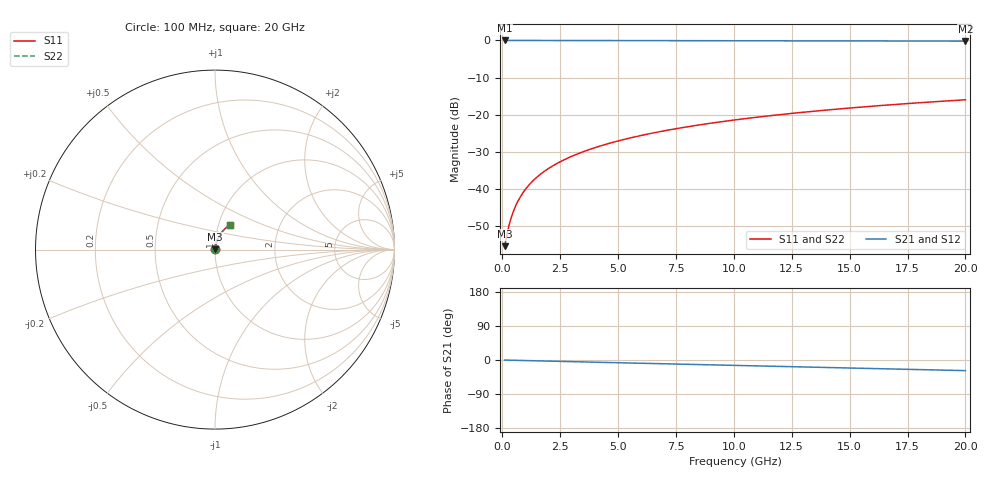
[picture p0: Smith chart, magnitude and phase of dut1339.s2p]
! Touchstone file exported from HFSS 2026.1.0
!  File:  C:/ffzhzh/LocalFiles/Ansys_Project_Files/temp_train_TMRDL_1339_1783165335_55132.aedt
!  Generated:  07:43:24 PM Jul  4, 2026
!  Design:  TMRDL
!  Project:  temp_train_TMRDL_1339_1783165335_55132
! Variables:
!  h_bsmrdl = 2um
!  h_ox = 20um
!  h_rdl = 5um
!  h_sub = 80um
!  h_tmrdl = 5.51um
!  h_tsv = 80um
!  h_via = 3um
!  l_bsmrdl = 300um
!  l_sub = 852.04um
!  l_tmrdl = 452.04um
!  m_sub = 200um
!  pitch = 42.9um
!  r_tsv = 6um
!  s_tmrdl = 10um
!  w_bsmrdl = 18um
!  w_sub = 500um
!  w_tmrdl = 27.98um
!  x_tsv_center1 = 466.03um
!  x_tsv_center2 = 784.03um
!  x_tsv_center3 = 1264.05um
!  x_tsv_center4 = 1582.05um
!  x_tsv_center5 = 2062.07um
!  x_tsv_center6 = 2380.07um
# GHz S MA R 50.000000
! Terminal data exported
! Port[1] = TM_RDL1_1_T1
! Port[2] = TM_RDL1_1_T2
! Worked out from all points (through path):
!   200 points, 100 MHz to 20 GHz, reference 50 ohm
!   highest |S21| = -0.01 dB at 100 MHz (marker M1); lowest = -0.2 dB at 20 GHz (marker M2)
!   group delay of S21, straight-line fit = 3.88 ps
!   lowest |S11| = -55.4 dB at 100 MHz (marker M3), VSWR 1.00, Z = 50.1 + j0.112 ohm
!   |S11| at or under -10 dB: start of sweep to end of sweep
!   |S22| runs from -55.4 to -16.0 dB; largest |S21 - S12| = 7.1e-15
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0.1  0.001689 41.6  0.9987 -0.2  0.9987 -0.2  0.001689 41.6
! Gamma 0 0 0 0
! Port Impedance 50 0 50 0
0.2  0.002444 60.9  0.9986 -0.3  0.9986 -0.3  0.002445 60.9
0.3  0.003316 69.4  0.9985 -0.5  0.9985 -0.5  0.003317 69.4
0.4  0.004231 73.7  0.9984 -0.6  0.9984 -0.6  0.004232 73.7
0.5  0.005165 76.1  0.9983 -0.7  0.9983 -0.7  0.005166 76.1
0.6  0.006107 77.6  0.9983 -0.9  0.9983 -0.9  0.006108 77.6
0.8  0.00799 79.1  0.9982 -1.2  0.9982 -1.2  0.007992 79.1
1.1  0.01078 80.0  0.998 -1.6  0.998 -1.6  0.01079 80.0
1.3  0.01262 80.2  0.9979 -1.9  0.9979 -1.9  0.01262 80.2
1.5  0.01442 80.2  0.9978 -2.2  0.9978 -2.2  0.01442 80.2
1.8  0.01709 80.1  0.9976 -2.6  0.9976 -2.6  0.01709 80.1
2.1  0.01972 80.0  0.9974 -3.1  0.9974 -3.1  0.01972 80.0
2.7  0.0249 79.6  0.9969 -3.9  0.9969 -3.9  0.0249 79.6
3.5  0.03169 79.0  0.9963 -5.1  0.9963 -5.1  0.03169 79.0
4.2  0.03756 78.3  0.9957 -6.1  0.9957 -6.1  0.03756 78.3
5  0.04421 77.5  0.995 -7.2  0.995 -7.2  0.04421 77.5
6.8  0.05896 75.6  0.9934 -9.7  0.9934 -9.7  0.05896 75.6
8.3  0.07104 73.8  0.9921 -11.8  0.9921 -11.8  0.07105 73.8
10.1  0.0853 71.6  0.9904 -14.4  0.9904 -14.4  0.08531 71.6
13.4  0.1108 67.5  0.987 -19.0  0.987 -19.0  0.1108 67.5
16.7  0.1352 63.3  0.9832 -23.5  0.9832 -23.5  0.1352 63.3
20  0.1585 59.0  0.9791 -28.0  0.9791 -28.0  0.1585 59.0
